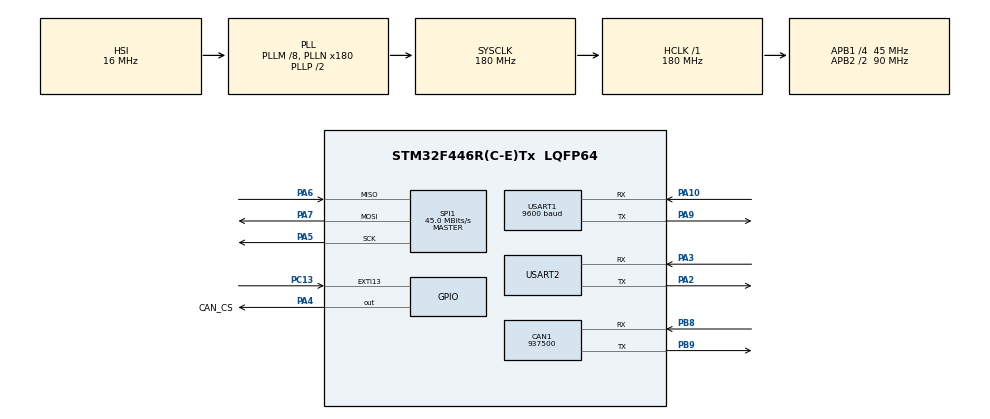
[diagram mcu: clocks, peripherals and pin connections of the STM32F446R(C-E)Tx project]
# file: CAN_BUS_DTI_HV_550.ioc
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CAN1.CalculateBaudRate=937500
CAN1.CalculateTimeBit=1066
CAN1.CalculateTimeQuantum=355.55555555555554
Mcu.Family=STM32F4
Mcu.Name=STM32F446R(C-E)Tx
Mcu.Package=LQFP64
NVIC.PriorityGroup=NVIC_PRIORITYGROUP_4
NVIC.USART1_IRQn=true\:0\:0\:false\:false\:true\:true\:true\:true
PA10.Mode=Asynchronous
PA10.Signal=USART1_RX
PA13.Mode=Serial_Wire
PA13.Signal=SYS_JTMS-SWDIO
PA14.Mode=Serial_Wire
PA14.Signal=SYS_JTCK-SWCLK
PA2.Mode=Asynchronous
PA2.Signal=USART2_TX
PA3.Mode=Asynchronous
PA3.Signal=USART2_RX
PA4.GPIO_Label=CAN_CS
PA4.Signal=GPIO_Output
PA5.Mode=Full_Duplex_Master
PA5.Signal=SPI1_SCK
PA6.Mode=Full_Duplex_Master
PA6.Signal=SPI1_MISO
PA7.Mode=Full_Duplex_Master
PA7.Signal=SPI1_MOSI
PA9.Mode=Asynchronous
PA9.Signal=USART1_TX
PB8.Mode=CAN_Activate
PB8.Signal=CAN1_RX
PB9.Mode=CAN_Activate
PB9.Signal=CAN1_TX
PC13.Signal=GPXTI13
PC14-OSC32_IN.Mode=LSE-External-Oscillator
PC14-OSC32_IN.Signal=RCC_OSC32_IN
PC15-OSC32_OUT.Mode=LSE-External-Oscillator
PC15-OSC32_OUT.Signal=RCC_OSC32_OUT
PH0-OSC_IN.Mode=HSE-External-Oscillator
PH0-OSC_IN.Signal=RCC_OSC_IN
PH1-OSC_OUT.Mode=HSE-External-Oscillator
PH1-OSC_OUT.Signal=RCC_OSC_OUT
ProjectManager.HeapSize=0x200
ProjectManager.StackSize=0x400
ProjectManager.TargetToolchain=STM32CubeIDE
RCC.AHBFreq_Value=180000000
RCC.APB1CLKDivider=RCC_HCLK_DIV4
RCC.APB1Freq_Value=45000000
RCC.APB1TimFreq_Value=90000000
RCC.APB2CLKDivider=RCC_HCLK_DIV2
RCC.APB2Freq_Value=90000000
RCC.APB2TimFreq_Value=180000000
RCC.CortexFreq_Value=180000000
RCC.HCLKFreq_Value=180000000
RCC.PLLM=8
RCC.PLLN=180
RCC.SYSCLKFreq_VALUE=180000000
RCC.SYSCLKSource=RCC_SYSCLKSOURCE_PLLCLK
RCC.USBFreq_Value=180000000
RCC.VCOOutputFreq_Value=360000000
SPI1.CalculateBaudRate=45.0 MBits/s
SPI1.Direction=SPI_DIRECTION_2LINES
SPI1.Mode=SPI_MODE_MASTER
SPI1.VirtualType=VM_MASTER
USART1.BaudRate=9600
USART1.VirtualMode=VM_ASYNC
USART2.VirtualMode=VM_ASYNC
board=custom

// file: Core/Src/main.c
/* USER CODE BEGIN Header */
/**
  ******************************************************************************
  * @file           : main.c
  * @brief          : CAN message decode + LED blink on STM32
  ******************************************************************************
  */
/* USER CODE END Header */
#include "main.h"

/* USER CODE BEGIN Includes */
#include "CANSPI.h"
/* USER CODE END Includes */

/* USER CODE BEGIN PM */
#define NEXTION_SEND(ID, val) _Generic((val), \
    int16_t: NEXTION_SendInt, \
    uint16_t: NEXTION_SendInt, \
    int32_t: NEXTION_SendInt, \
    uint32_t: NEXTION_SendInt, \
    float: NEXTION_SendFloat, \
    default: NEXTION_SendString \
)(ID, val)

/* USER CODE END PM */

CAN_HandleTypeDef hcan1;

SPI_HandleTypeDef hspi1;

UART_HandleTypeDef huart1;
UART_HandleTypeDef huart2;

/* USER CODE BEGIN PV */
//CAN_RxHeaderTypeDef RxHeader;
//uint8_t RxData[8];
//uint8_t can_msg_received = 0;

char uart_buffer[100];

//1F0F
char test[100];
uint8_t Cmd_End[3] = {0xFF,0xFF,0xFF};  // command end sequence
uint8_t control_mode;
int16_t target_iq_raw;
float target_iq;
uint16_t motor_position_raw;
float motor_position;
uint8_t is_motor_still;

//200F
int32_t erpm;
uint16_t duty_raw;
uint16_t voltage;
float duty;

//210F
uint16_t ac_current_raw;
uint16_t dc_current_raw;
float ac_current;
float dc_current;

//220F
uint16_t ctrl_temp_raw;
uint16_t motor_temp_raw;
uint8_t fault_code;
float ctrl_temp;
float motor_temp;

/* USER CODE END PV */

void SystemClock_Config(void);
static void MX_GPIO_Init(void);
static void MX_USART2_UART_Init(void);
static void MX_SPI1_Init(void);
static void MX_USART1_UART_Init(void);
static void MX_CAN1_Init(void);

/* USER CODE BEGIN 0 */

int _write(int file, char *ptr, int len)
{
    HAL_UART_Transmit(&huart2, (uint8_t *)ptr, len, HAL_MAX_DELAY);
    return len;
}

void Decode_CAN_Message(CAN_RxHeaderTypeDef *header, uint8_t *data)
{
    switch (header->StdId)
    {
		case 0x1F0F: // General Data 6: Control mode, Target Iq, Motor position, isMotorStill
		{
			control_mode = data[0];

			target_iq_raw = (int16_t)((data[1] << 8) | data[2]);
			target_iq = target_iq_raw / 10.0f;

			motor_position_raw = (data[3] << 8) | data[4];
			motor_position = motor_position_raw / 10.0f;

			is_motor_still = data[5];

			snprintf(uart_buffer,
					 sizeof(uart_buffer),
					 "ID: 0x1F0F | Ctrl Mode: %u | Target Iq: %.1f A | Motor Pos: %.1f deg | Still: %s\r\n",
					 control_mode,
					 target_iq,
					 motor_position,
					 is_motor_still ? "1" : "0");

			HAL_UART_Transmit(&huart2, (uint8_t*)uart_buffer, strlen(uart_buffer), 100);
			break;
		}
        case 0x200F: // ERPM, Duty, Voltage
        {
            erpm = (int32_t)((data[0] << 24) | (data[1] << 16) | (data[2] << 8) | data[3]);
            duty_raw = (data[4] << 8) | data[5];
            voltage = (data[6] << 8) | data[7];

            duty = duty_raw / 10.0f;

            snprintf(uart_buffer,
                     sizeof(uart_buffer),
                     "ID: 0x200F | ERPM: %ld | Duty: %.1f %% | Voltage: %u V\r\n",
                     erpm, duty, voltage);
            HAL_UART_Transmit(&huart2, (uint8_t*)uart_buffer, strlen(uart_buffer), 100);
            break;
        }

        case 0x210F: // AC Current, DC Current
        {
            ac_current_raw = (data[0] << 8) | data[1];
            dc_current_raw = (data[2] << 8) | data[3];

            ac_current = ac_current_raw * 0.01f;
            dc_current = dc_current_raw * 0.1f;

            snprintf(uart_buffer,
                     sizeof(uart_buffer),
                     "ID: 0x210F | AC Current: %.2f A | DC Current: %.2f A\r\n",
                     ac_current, dc_current);
            HAL_UART_Transmit(&huart2, (uint8_t*)uart_buffer, strlen(uart_buffer), 100);
            break;
        }

        case 0x220F: // Ctrl Temp, Motor Temp, Fault Code
        {
            ctrl_temp_raw = (data[0] << 8) | data[1];
            motor_temp_raw = (data[2] << 8) | data[3];
            fault_code = data[4];

            ctrl_temp = ctrl_temp_raw * 0.1f;
            motor_temp = motor_temp_raw * 0.1f;

            snprintf(uart_buffer,
                     sizeof(uart_buffer),
                     "ID: 0x220F | Ctrl Temp: %.1f °C | Motor Temp: %.1f °C | Fault: 0x%02X\r\n",
                     ctrl_temp, motor_temp, fault_code);
            HAL_UART_Transmit(&huart2, (uint8_t*)uart_buffer, strlen(uart_buffer), 100);
            break;
        }

        default:
        {
            snprintf(uart_buffer,
                     sizeof(uart_buffer),
                     "Unknown CAN ID: 0x%03lX\r\n", (unsigned long)header->StdId);
            HAL_UART_Transmit(&huart2, (uint8_t*)uart_buffer, strlen(uart_buffer), 100);
            break;
        }
    }
}

void NEXTION_SendString(const char *ID, const char *string) {
    char buf[50];
    int len = sprintf(buf, "%s.txt=\"%s\"", ID, string);
    HAL_UART_Transmit(&huart1, (uint8_t *)buf, len, 1000);
    HAL_UART_Transmit(&huart1, (uint8_t *)"\xFF\xFF\xFF", 3, 100);
}

void NEXTION_SendInt(char *ID, int value) {
    char str[20];
    sprintf(str, "%d", value);
    NEXTION_SendString(ID, str);
}

void NEXTION_SendFloat(char *ID, float value) {
    char str[20];
    sprintf(str, "%.2f", value);
    NEXTION_SendString(ID, str);
}

void NEXTION_SendInt32(const char *ID, int32_t value) {
    char buf[50];
    int len = sprintf(buf, "%s.txt=\"%ld\"", ID, (long)value);  // Use %ld for 32-bit int
    HAL_UART_Transmit(&huart1, (uint8_t *)buf, len, 1000);
    HAL_UART_Transmit(&huart1, (uint8_t *)"\xFF\xFF\xFF", 3, 100);
}

void NEXTION_SendUint16(const char *ID, uint16_t value) {
    char buf[50];
    int len = sprintf(buf, "%s.txt=\"%u\"", ID, value);
    HAL_UART_Transmit(&huart1, (uint8_t *)buf, len, 1000);
    HAL_UART_Transmit(&huart1, (uint8_t *)"\xFF\xFF\xFF", 3, 100);
}

//void HAL_CAN_RxFifo0MsgPendingCallback(CAN_HandleTypeDef *hcan)
//{
//    if (HAL_CAN_GetRxMessage(hcan, CAN_RX_FIFO0, &RxHeader, RxData) == HAL_OK)
//    {
//        Decode_CAN_Message(&RxHeader, RxData);
//        can_msg_received = 1;
//    }
//}
/* USER CODE END 0 */

int main(void)
{

  /* MCU Configuration--------------------------------------------------------*/

  /* Reset of all peripherals, Initializes the Flash interface and the Systick. */
  HAL_Init();

  /* Configure the system clock */
  SystemClock_Config();

  /* Initialize all configured peripherals */
  MX_GPIO_Init();
  MX_USART2_UART_Init();
  MX_SPI1_Init();
  MX_USART1_UART_Init();
  MX_CAN1_Init();
  /* USER CODE BEGIN 2 */
  uint16_t readValue;
  uint16_t rxValue;
  uCAN_MSG txMessage;
  uCAN_MSG rxMessage;
//  HAL_ADC_Start(&hadc1);
  CANSPI_Initialize();
  HAL_Delay(1000);
  /* USER CODE END 2 */

  /* Infinite loop */
  /* USER CODE BEGIN WHILE */
  while (1)
  {
//	    HAL_ADC_PollForConversion(&hadc1,1000);
//	    readValue = HAL_ADC_GetValue(&hadc1);
//	    txMessage.frame.idType = dSTANDARD_CAN_MSG_ID_2_0B;
//	    txMessage.frame.id = 0x127; // ID can be between Hex1 and Hex7FF (1-2047 decimal)
//	    txMessage.frame.dlc = 8;
//	    txMessage.frame.data0 = 'S';
//	    txMessage.frame.data1 = 'T';
//	    txMessage.frame.data2 = 'M';
//	    txMessage.frame.data3 = '3';
//	    txMessage.frame.data4 = '2';
//	    txMessage.frame.data5 = '-';
//	    txMessage.frame.data6 = readValue & 0xff;
//	    txMessage.frame.data7 = readValue >> 8;
//	    CANSPI_Transmit(&txMessage);
    /* USER CODE END WHILE */

    /* USER CODE BEGIN 3 */
	    if(CANSPI_Receive(&rxMessage))
	    {
//	    	sprintf(test,"Tough%d\n",100);
//	    	HAL_UART_Transmit(&huart2,test,sizeof(test),100);
	    	CAN_RxHeaderTypeDef fakeHeader;
	    	fakeHeader.StdId = rxMessage.frame.id;
	    	Decode_CAN_Message(&fakeHeader, &rxMessage.frame.data0);
	    }
	    HAL_Delay(100);
//	    NEXTION_SEND("t27", voltage);      // uint16_t
	    NEXTION_SEND("t15", erpm / 10);    // int32_t divided, result is int
	    NEXTION_SEND("t24", motor_temp);   // float
		NEXTION_SendString ("t5", "30");
		NEXTION_SendString ("t3", "30");

  }
  /* USER CODE END 3 */
}

void SystemClock_Config(void)
{
  RCC_OscInitTypeDef RCC_OscInitStruct = {0};
  RCC_ClkInitTypeDef RCC_ClkInitStruct = {0};

  /** Configure the main internal regulator output voltage
  */
  __HAL_RCC_PWR_CLK_ENABLE();
  __HAL_PWR_VOLTAGESCALING_CONFIG(PWR_REGULATOR_VOLTAGE_SCALE1);

  /** Initializes the RCC Oscillators according to the specified parameters
  * in the RCC_OscInitTypeDef structure.
  */
  RCC_OscInitStruct.OscillatorType = RCC_OSCILLATORTYPE_HSI;
  RCC_OscInitStruct.HSIState = RCC_HSI_ON;
  RCC_OscInitStruct.HSICalibrationValue = RCC_HSICALIBRATION_DEFAULT;
  RCC_OscInitStruct.PLL.PLLState = RCC_PLL_ON;
  RCC_OscInitStruct.PLL.PLLSource = RCC_PLLSOURCE_HSI;
  RCC_OscInitStruct.PLL.PLLM = 8;
  RCC_OscInitStruct.PLL.PLLN = 180;
  RCC_OscInitStruct.PLL.PLLP = RCC_PLLP_DIV2;
  RCC_OscInitStruct.PLL.PLLQ = 2;
  RCC_OscInitStruct.PLL.PLLR = 2;
  if (HAL_RCC_OscConfig(&RCC_OscInitStruct) != HAL_OK)
  {
    Error_Handler();
  }

  /** Activate the Over-Drive mode
  */
  if (HAL_PWREx_EnableOverDrive() != HAL_OK)
  {
    Error_Handler();
  }

  /** Initializes the CPU, AHB and APB buses clocks
  */
  RCC_ClkInitStruct.ClockType = RCC_CLOCKTYPE_HCLK|RCC_CLOCKTYPE_SYSCLK
                              |RCC_CLOCKTYPE_PCLK1|RCC_CLOCKTYPE_PCLK2;
  RCC_ClkInitStruct.SYSCLKSource = RCC_SYSCLKSOURCE_PLLCLK;
  RCC_ClkInitStruct.AHBCLKDivider = RCC_SYSCLK_DIV1;
  RCC_ClkInitStruct.APB1CLKDivider = RCC_HCLK_DIV4;
  RCC_ClkInitStruct.APB2CLKDivider = RCC_HCLK_DIV2;

  if (HAL_RCC_ClockConfig(&RCC_ClkInitStruct, FLASH_LATENCY_5) != HAL_OK)
  {
    Error_Handler();
  }
}

static void MX_CAN1_Init(void)
{

  hcan1.Instance = CAN1;
  hcan1.Init.Prescaler = 16;
  hcan1.Init.Mode = CAN_MODE_NORMAL;
  hcan1.Init.SyncJumpWidth = CAN_SJW_1TQ;
  hcan1.Init.TimeSeg1 = CAN_BS1_1TQ;
  hcan1.Init.TimeSeg2 = CAN_BS2_1TQ;
  hcan1.Init.TimeTriggeredMode = DISABLE;
  hcan1.Init.AutoBusOff = DISABLE;
  hcan1.Init.AutoWakeUp = DISABLE;
  hcan1.Init.AutoRetransmission = DISABLE;
  hcan1.Init.ReceiveFifoLocked = DISABLE;
  hcan1.Init.TransmitFifoPriority = DISABLE;
  if (HAL_CAN_Init(&hcan1) != HAL_OK)
  {
    Error_Handler();
  }

}

static void MX_SPI1_Init(void)
{

  /* SPI1 parameter configuration*/
  hspi1.Instance = SPI1;
  hspi1.Init.Mode = SPI_MODE_MASTER;
  hspi1.Init.Direction = SPI_DIRECTION_2LINES;
  hspi1.Init.DataSize = SPI_DATASIZE_8BIT;
  hspi1.Init.CLKPolarity = SPI_POLARITY_LOW;
  hspi1.Init.CLKPhase = SPI_PHASE_1EDGE;
  hspi1.Init.NSS = SPI_NSS_SOFT;
  hspi1.Init.BaudRatePrescaler = SPI_BAUDRATEPRESCALER_2;
  hspi1.Init.FirstBit = SPI_FIRSTBIT_MSB;
  hspi1.Init.TIMode = SPI_TIMODE_DISABLE;
  hspi1.Init.CRCCalculation = SPI_CRCCALCULATION_DISABLE;
  hspi1.Init.CRCPolynomial = 10;
  if (HAL_SPI_Init(&hspi1) != HAL_OK)
  {
    Error_Handler();
  }

}

static void MX_USART1_UART_Init(void)
{

  huart1.Instance = USART1;
  huart1.Init.BaudRate = 9600;
  huart1.Init.WordLength = UART_WORDLENGTH_8B;
  huart1.Init.StopBits = UART_STOPBITS_1;
  huart1.Init.Parity = UART_PARITY_NONE;
  huart1.Init.Mode = UART_MODE_TX_RX;
  huart1.Init.HwFlowCtl = UART_HWCONTROL_NONE;
  huart1.Init.OverSampling = UART_OVERSAMPLING_16;
  if (HAL_UART_Init(&huart1) != HAL_OK)
  {
    Error_Handler();
  }

}

static void MX_USART2_UART_Init(void)
{

  huart2.Instance = USART2;
  huart2.Init.BaudRate = 115200;
  huart2.Init.WordLength = UART_WORDLENGTH_8B;
  huart2.Init.StopBits = UART_STOPBITS_1;
  huart2.Init.Parity = UART_PARITY_NONE;
  huart2.Init.Mode = UART_MODE_TX_RX;
  huart2.Init.HwFlowCtl = UART_HWCONTROL_NONE;
  huart2.Init.OverSampling = UART_OVERSAMPLING_16;
  if (HAL_UART_Init(&huart2) != HAL_OK)
  {
    Error_Handler();
  }

}

static void MX_GPIO_Init(void)
{
  GPIO_InitTypeDef GPIO_InitStruct = {0};

  /* GPIO Ports Clock Enable */
  __HAL_RCC_GPIOC_CLK_ENABLE();
  __HAL_RCC_GPIOH_CLK_ENABLE();
  __HAL_RCC_GPIOA_CLK_ENABLE();
  __HAL_RCC_GPIOB_CLK_ENABLE();

  /*Configure GPIO pin Output Level */
  HAL_GPIO_WritePin(CAN_CS_GPIO_Port, CAN_CS_Pin, GPIO_PIN_RESET);

  /*Configure GPIO pin : PC13 */
  GPIO_InitStruct.Pin = GPIO_PIN_13;
  GPIO_InitStruct.Mode = GPIO_MODE_IT_RISING;
  GPIO_InitStruct.Pull = GPIO_NOPULL;
  HAL_GPIO_Init(GPIOC, &GPIO_InitStruct);

  /*Configure GPIO pin : CAN_CS_Pin */
  GPIO_InitStruct.Pin = CAN_CS_Pin;
  GPIO_InitStruct.Mode = GPIO_MODE_OUTPUT_PP;
  GPIO_InitStruct.Pull = GPIO_NOPULL;
  GPIO_InitStruct.Speed = GPIO_SPEED_FREQ_LOW;
  HAL_GPIO_Init(CAN_CS_GPIO_Port, &GPIO_InitStruct);

}

void Error_Handler(void)
{
  __disable_irq();
  while (1)
  {
  }
}
